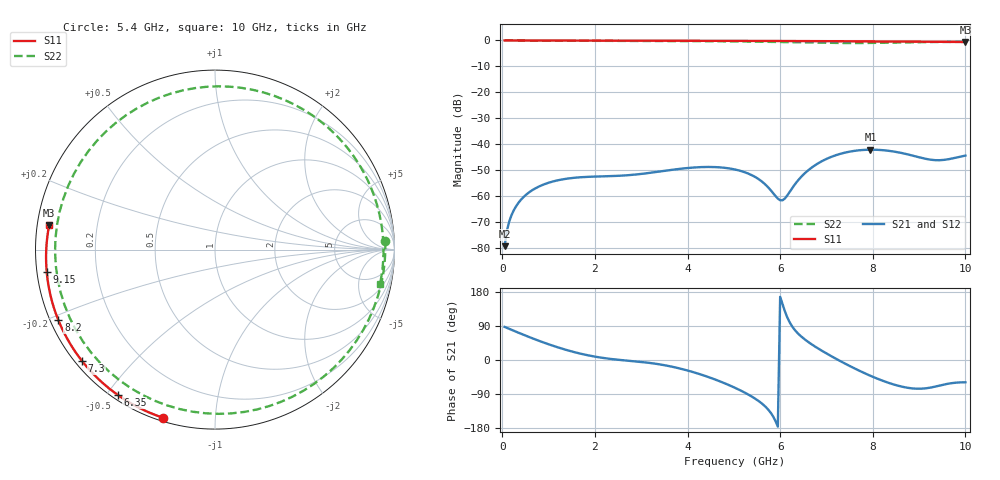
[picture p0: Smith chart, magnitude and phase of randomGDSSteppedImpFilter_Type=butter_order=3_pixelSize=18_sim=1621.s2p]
! freq	dB(S11)	phase(S11)	dB(S12)	phase(S12)
!  dB(S21)	phase(S21)	dB(S22)	phase(S22)
!S-par simulation data
#  GHz  S  DB  R 50
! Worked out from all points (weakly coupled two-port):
!   200 points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, 50 MHz to 10 GHz, reference 50 ohm
!   highest |S21| = -42.05 dB at 7.95 GHz (marker M1); lowest = -79.2 dB at 50 MHz (marker M2)
!   lowest |S11| = -0.6 dB at 10 GHz (marker M3), VSWR 29.23, Z = 1.72 + j3.7 ohm
!   |S11| at or under -10 dB: nowhere
!   |S22| runs from -1.0 to 0.0 dB; largest |S21 - S12| = 0
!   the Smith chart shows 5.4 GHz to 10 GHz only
!   S11 on the Smith chart (normalised r, x): 5.4 GHz: 0.02, -0.74; 6.35 GHz: 0.02, -0.53; 7.3 GHz: 0.02, -0.36; 8.2 GHz: 0.02, -0.22; 9.15 GHz: 0.03, -0.07; 10 GHz: 0.03, +0.07
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0.05  -0.00 -1.1  -79.18 87.4  -79.18 87.4  -0.00 -4.1
0.1  -0.00 -2.2  -73.17 84.8  -73.17 84.8  -0.01 -8.3
0.2  -0.00 -4.3  -67.20 79.6  -67.20 79.6  -0.02 -16.5
0.5  -0.02 -10.8  -59.59 64.5  -59.59 64.5  -0.05 -40.6
1.1  -0.03 -23.7  -54.25 37.3  -54.25 37.3  -0.10 -85.9
1.75  -0.05 -37.4  -52.59 15.0  -52.59 15.0  -0.13 -129.5
2.55  -0.07 -53.7  -52.06 0.1  -52.06 0.1  -0.16 -177.2
3.4  -0.09 -70.5  -50.44 -11.6  -50.44 -11.6  -0.21 134.2
4.25  -0.12 -86.5  -48.78 -36.8  -48.78 -36.8  -0.27 83.0
5.05  -0.15 -101.1  -49.77 -74.8  -49.77 -74.8  -0.37 28.9
5.4  -0.17 -107.3  -51.97 -97.4  -51.97 -97.4  -0.44 3.0
6  -0.21 -117.8  -61.51 166.7  -61.51 166.7  -0.60 -45.1
6.35  -0.23 -123.9  -54.66 74.5  -54.66 74.5  -0.72 -75.3
6.7  -0.25 -129.9  -48.68 39.7  -48.68 39.7  -0.84 -107.1
7.3  -0.30 -140.2  -43.64 -3.0  -43.64 -3.0  -0.99 -164.6
7.6  -0.32 -145.3  -42.51 -21.8  -42.51 -21.8  -1.00 166.2
7.95  -0.36 -151.3  -42.05 -41.7  -42.05 -41.7  -0.96 132.9
8.2  -0.38 -155.7  -42.21 -54.1  -42.21 -54.1  -0.90 110.2
8.35  -0.40 -158.3  -42.49 -60.6  -42.49 -60.6  -0.85 97.2
8.7  -0.43 -164.5  -43.62 -72.2  -43.62 -72.2  -0.74 68.9
9.15  -0.49 -172.5  -45.59 -74.6  -45.59 -74.6  -0.63 36.9
10  -0.59 171.5  -44.32 -58.8  -44.32 -58.8  -0.55 -11.7
